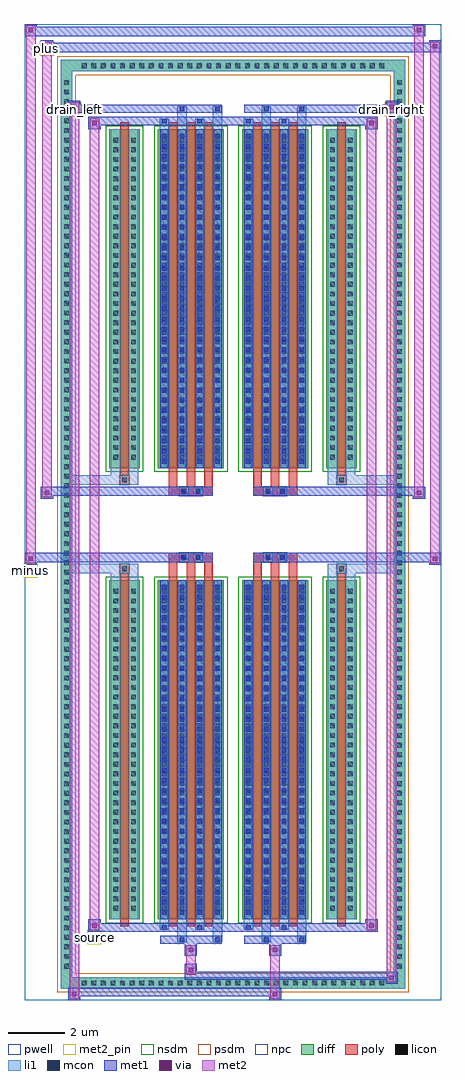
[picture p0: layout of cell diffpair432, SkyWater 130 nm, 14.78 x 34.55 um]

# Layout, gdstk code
import gdstk
lib = gdstk.Library(unit=1e-6, precision=5e-09)
def R(c, l, rs):  # rectangles x0, y0, x1, y1
    for r in rs: c.add(gdstk.rectangle(r[:2], r[2:], *l))
def A(c, l, x, y, w, h, nx, ny, dx, dy):  # array of equal rectangles
    R(c, l, [(x+i*dx, y+j*dy, x+i*dx+w, y+j*dy+h) for i in range(nx) for j in range(ny)])
def P(c, l, *ps):  # polygons
    for p in ps: c.add(gdstk.Polygon(p, *l))
pwell = (64, 44)
diff = (65, 20)
poly = (66, 20)
licon = (66, 44)
li1 = (67, 20)
mcon = (67, 44)
met1 = (68, 20)
via = (68, 44)
met2_pin = (69, 16)
met2 = (69, 20)
nsdm = (93, 44)
psdm = (94, 20)
npc = (95, 20)

diffpair432 = lib.new_cell('diffpair432')
R(diffpair432, pwell, [(-7.37,-16.84,7.37,17.71), (-4.69,-15.03,-0.01,-0.805), (0.01,-15.03,4.69,-0.805), (-4.69,0.805,-0.01,15.03), (0.01,0.805,4.69,15.03)])
A(diffpair432, diff, -5.475, -16.44, 0.41, 0.41, 32, 2, 0.34, 32.47)
A(diffpair432, diff, -6.1, -15.845, 0.41, 0.41, 1, 93, 0, 0.34)
A(diffpair432, diff, 5.69, -15.845, 0.41, 0.41, 1, 93, 0, 0.34)
R(diffpair432, diff, [(-5.475,-16.44,5.475,-16.03), (-6.1,-15.845,-5.69,15.845), (5.69,-15.845,6.1,15.845), (-4.38,-13.985,-3.3,-1.985), (-2.66,-13.985,-0.32,-1.985), (0.32,-13.985,2.66,-1.985), (3.3,-13.985,4.38,-1.985), (-4.38,1.985,-3.3,13.985), (-2.66,1.985,-0.32,13.985), (0.32,1.985,2.66,13.985), (3.3,1.985,4.38,13.985), (-5.475,16.03,5.475,16.44)])
P(diffpair432, diff, [(6.1,16.44),(-6.1,16.44),(-6.1,-16.03),(-5.69,-16.03),(-5.69,16.03),(5.69,16.03),(5.69,-16.03),(-5.69,-16.03),(-6.1,-16.03),(-6.1,-16.44),(6.1,-16.44)])
A(diffpair432, poly, -2.27, -14.235, 0.3, 12.5, 3, 2, 0.63, 15.97)
A(diffpair432, poly, 0.71, -14.235, 0.3, 12.5, 3, 2, 0.63, 15.97)
A(diffpair432, poly, -2.27, -1.735, 0.3, 0.4, 3, 2, 0.63, 3.07)
A(diffpair432, poly, 0.71, -1.735, 0.3, 0.4, 3, 2, 0.63, 3.07)
R(diffpair432, poly, [(-3.99,-14.235,-3.69,-1.735), (3.69,-14.235,3.99,-1.735), (-4.005,-1.735,-3.675,-1.405), (-4.005,-1.735,-3.675,-1.405), (3.675,-1.735,4.005,-1.405), (3.675,-1.735,4.005,-1.405), (-2.27,-1.335,-0.71,-1.005), (-1.905,-1.335,-1.575,-1.005), (-1.405,-1.335,-1.075,-1.005), (0.71,-1.335,2.27,-1.005), (1.075,-1.335,1.405,-1.005), (1.575,-1.335,1.905,-1.005), (-2.27,1.005,-0.71,1.335), (-1.905,1.005,-1.575,1.335), (-1.405,1.005,-1.075,1.335), (0.71,1.005,2.27,1.335), (1.075,1.005,1.405,1.335), (1.575,1.005,1.905,1.335), (-4.005,1.405,-3.675,1.735), (-4.005,1.405,-3.675,1.735), (3.675,1.405,4.005,1.735), (3.675,1.405,4.005,1.735), (-3.99,1.735,-3.69,14.235), (3.69,1.735,3.99,14.235)])
A(diffpair432, licon, -5.355, -16.32, 0.17, 0.17, 32, 2, 0.34, 32.47)
A(diffpair432, licon, -5.98, -15.725, 0.17, 0.17, 1, 93, 0, 0.34)
A(diffpair432, licon, 5.81, -15.725, 0.17, 0.17, 1, 93, 0, 0.34)
A(diffpair432, licon, -4.24, -13.68, 0.17, 0.17, 1, 34, 0, 0.34)
A(diffpair432, licon, -3.61, -13.68, 0.17, 0.17, 1, 34, 0, 0.34)
A(diffpair432, licon, -2.52, -13.68, 0.17, 0.17, 4, 34, 0.63, 0.34)
A(diffpair432, licon, 0.46, -13.68, 0.17, 0.17, 4, 34, 0.63, 0.34)
A(diffpair432, licon, 3.44, -13.68, 0.17, 0.17, 1, 34, 0, 0.34)
A(diffpair432, licon, 4.07, -13.68, 0.17, 0.17, 1, 34, 0, 0.34)
A(diffpair432, licon, -4.24, 2.29, 0.17, 0.17, 1, 34, 0, 0.34)
A(diffpair432, licon, -3.61, 2.29, 0.17, 0.17, 1, 34, 0, 0.34)
A(diffpair432, licon, -2.52, 2.29, 0.17, 0.17, 4, 34, 0.63, 0.34)
A(diffpair432, licon, 0.46, 2.29, 0.17, 0.17, 4, 34, 0.63, 0.34)
A(diffpair432, licon, 3.44, 2.29, 0.17, 0.17, 1, 34, 0, 0.34)
A(diffpair432, licon, 4.07, 2.29, 0.17, 0.17, 1, 34, 0, 0.34)
R(diffpair432, licon, [(-3.925,-1.655,-3.755,-1.485), (3.755,-1.655,3.925,-1.485), (-1.825,-1.255,-1.655,-1.085), (-1.325,-1.255,-1.155,-1.085), (1.155,-1.255,1.325,-1.085), (1.655,-1.255,1.825,-1.085), (-1.825,1.085,-1.655,1.255), (-1.325,1.085,-1.155,1.255), (1.155,1.085,1.325,1.255), (1.655,1.085,1.825,1.255), (-3.925,1.485,-3.755,1.655), (3.755,1.485,3.925,1.655)])
A(diffpair432, li1, -5.435, -16.4, 0.33, 0.33, 32, 2, 0.34, 32.47)
A(diffpair432, li1, -6.06, -15.805, 0.33, 0.33, 1, 93, 0, 0.34)
A(diffpair432, li1, 5.73, -15.805, 0.33, 0.33, 1, 93, 0, 0.34)
A(diffpair432, li1, -2.6, -13.985, 0.33, 12, 4, 2, 0.63, 15.97)
A(diffpair432, li1, 0.38, -13.985, 0.33, 12, 4, 2, 0.63, 15.97)
A(diffpair432, li1, -2.52, -13.83, 0.17, 0.17, 4, 33, 0.63, 0.36)
A(diffpair432, li1, -2.52, -13.83, 0.17, 11.69, 4, 2, 0.63, 15.97)
A(diffpair432, li1, 0.46, -13.83, 0.17, 0.17, 4, 33, 0.63, 0.36)
A(diffpair432, li1, 0.46, -13.83, 0.17, 11.69, 4, 2, 0.63, 15.97)
A(diffpair432, li1, -4.32, -13.76, 0.33, 0.33, 1, 34, 0, 0.34)
A(diffpair432, li1, -3.69, -13.76, 0.33, 0.33, 1, 34, 0, 0.34)
A(diffpair432, li1, -2.6, -13.76, 0.33, 0.33, 4, 34, 0.63, 0.34)
A(diffpair432, li1, 0.38, -13.76, 0.33, 0.33, 4, 34, 0.63, 0.34)
A(diffpair432, li1, 3.36, -13.76, 0.33, 0.33, 1, 34, 0, 0.34)
A(diffpair432, li1, 3.99, -13.76, 0.33, 0.33, 1, 34, 0, 0.34)
A(diffpair432, li1, -2.52, 2.14, 0.17, 0.17, 4, 33, 0.63, 0.36)
A(diffpair432, li1, 0.46, 2.14, 0.17, 0.17, 4, 33, 0.63, 0.36)
A(diffpair432, li1, -4.32, 2.21, 0.33, 0.33, 1, 34, 0, 0.34)
A(diffpair432, li1, -3.69, 2.21, 0.33, 0.33, 1, 34, 0, 0.34)
A(diffpair432, li1, -2.6, 2.21, 0.33, 0.33, 4, 34, 0.63, 0.34)
A(diffpair432, li1, 0.38, 2.21, 0.33, 0.33, 4, 34, 0.63, 0.34)
A(diffpair432, li1, 3.36, 2.21, 0.33, 0.33, 1, 34, 0, 0.34)
A(diffpair432, li1, 3.99, 2.21, 0.33, 0.33, 1, 34, 0, 0.34)
R(diffpair432, li1, [(-6.1,-16.44,-5.69,-16.03), (-6.1,-16.44,-5.69,-16.03), (-5.69,-16.44,5.69,-16.03), (5.69,-16.44,6.1,-16.03), (5.69,-16.44,6.1,-16.03), (-6.1,-16.03,-5.69,16.03), (5.69,-16.03,6.1,16.03), (-1.97,-14.79,-1.64,-13.985), (-1.89,-14.79,-1.72,-14.62), (-0.71,-14.79,-0.38,-13.985), (-0.63,-14.79,-0.46,-14.62), (1.01,-14.79,1.34,-13.985), (1.09,-14.79,1.26,-14.62), (2.27,-14.79,2.6,-13.985), (2.35,-14.79,2.52,-14.62), (-2.6,-14.36,-2.27,-13.985), (-2.52,-14.36,-2.35,-14.19), (-1.34,-14.36,-1.01,-13.985), (-1.26,-14.36,-1.09,-14.19), (0.38,-14.36,0.71,-13.985), (0.46,-14.36,0.63,-14.19), (1.64,-14.36,1.97,-13.985), (1.72,-14.36,1.89,-14.19), (-4.32,-13.985,-3.99,-1.985), (-3.69,-13.985,-3.36,-1.985), (3.36,-13.985,3.69,-1.985), (3.99,-13.985,4.32,-1.985), (-4.32,-1.985,-3.99,-1.405), (-3.69,-1.985,-3.36,-1.405), (3.36,-1.985,3.69,-1.405), (3.99,-1.985,4.32,-1.405), (-6.1,-1.735,-4.005,-1.405), (-4.32,-1.735,-4.005,-1.405), (-4.005,-1.735,-3.675,-1.405), (-3.675,-1.735,-3.36,-1.405), (3.36,-1.735,3.675,-1.405), (3.675,-1.735,4.005,-1.405), (3.675,-1.735,6.1,-1.405), (4.005,-1.735,4.32,-1.405), (-1.905,-1.335,-1.575,-1.005), (-1.405,-1.335,-1.075,-1.005), (1.075,-1.335,1.405,-1.005), (1.575,-1.335,1.905,-1.005), (-1.905,1.005,-1.575,1.335), (-1.405,1.005,-1.075,1.335), (1.075,1.005,1.405,1.335), (1.575,1.005,1.905,1.335), (-6.1,1.405,-4.005,1.735), (-4.32,1.405,-4.005,1.735), (-4.32,1.405,-3.99,1.985), (-4.005,1.405,-3.675,1.735), (-3.69,1.405,-3.36,1.985), (-3.675,1.405,-3.36,1.735), (3.36,1.405,3.675,1.735), (3.36,1.405,3.69,1.985), (3.675,1.405,4.005,1.735), (3.675,1.405,6.1,1.735), (3.99,1.405,4.32,1.985), (4.005,1.405,4.32,1.735), (-4.32,1.985,-3.99,13.985), (-3.69,1.985,-3.36,13.985), (3.36,1.985,3.69,13.985), (3.99,1.985,4.32,13.985), (-2.6,13.985,-2.27,14.36), (-1.97,13.985,-1.64,14.79), (-1.34,13.985,-1.01,14.36), (-0.71,13.985,-0.38,14.79), (0.38,13.985,0.71,14.36), (1.01,13.985,1.34,14.79), (1.64,13.985,1.97,14.36), (2.27,13.985,2.6,14.79), (-2.52,14.19,-2.35,14.36), (-1.26,14.19,-1.09,14.36), (0.46,14.19,0.63,14.36), (1.72,14.19,1.89,14.36), (-1.89,14.62,-1.72,14.79), (-0.63,14.62,-0.46,14.79), (1.09,14.62,1.26,14.79), (2.35,14.62,2.52,14.79), (-6.1,16.03,-5.69,16.44), (-6.1,16.03,-5.69,16.44), (-5.69,16.03,5.69,16.44), (5.69,16.03,6.1,16.44), (5.69,16.03,6.1,16.44)])
A(diffpair432, mcon, -2.52, -13.83, 0.17, 0.17, 4, 33, 0.63, 0.36)
A(diffpair432, mcon, 0.46, -13.83, 0.17, 0.17, 4, 33, 0.63, 0.36)
A(diffpair432, mcon, -2.52, 2.14, 0.17, 0.17, 4, 33, 0.63, 0.36)
A(diffpair432, mcon, 0.46, 2.14, 0.17, 0.17, 4, 33, 0.63, 0.36)
R(diffpair432, mcon, [(-1.89,-14.79,-1.72,-14.62), (-0.63,-14.79,-0.46,-14.62), (1.09,-14.79,1.26,-14.62), (2.35,-14.79,2.52,-14.62), (-2.52,-14.36,-2.35,-14.19), (-1.26,-14.36,-1.09,-14.19), (0.46,-14.36,0.63,-14.19), (1.72,-14.36,1.89,-14.19), (-1.825,-1.255,-1.655,-1.085), (-1.325,-1.255,-1.155,-1.085), (1.155,-1.255,1.325,-1.085), (1.655,-1.255,1.825,-1.085), (-1.825,1.085,-1.655,1.255), (-1.325,1.085,-1.155,1.255), (1.155,1.085,1.325,1.255), (1.655,1.085,1.825,1.255), (-2.52,14.19,-2.35,14.36), (-1.26,14.19,-1.09,14.36), (0.46,14.19,0.63,14.36), (1.72,14.19,1.89,14.36), (-1.89,14.62,-1.72,14.79), (-0.63,14.62,-0.46,14.79), (1.09,14.62,1.26,14.79), (2.35,14.62,2.52,14.79)])
A(diffpair432, met1, -2.58, -13.985, 0.29, 12, 4, 2, 0.63, 15.97)
A(diffpair432, met1, 0.4, -13.985, 0.29, 12, 4, 2, 0.63, 15.97)
A(diffpair432, met1, -2.58, -13.89, 0.29, 0.29, 4, 33, 0.63, 0.36)
A(diffpair432, met1, 0.4, -13.89, 0.29, 0.29, 4, 33, 0.63, 0.36)
A(diffpair432, met1, -2.58, 2.08, 0.29, 0.29, 4, 33, 0.63, 0.36)
A(diffpair432, met1, 0.4, 2.08, 0.29, 0.29, 4, 33, 0.63, 0.36)
R(diffpair432, met1, [(-5.83,-16.84,-5.4,-16.41), (1.275,-16.84,1.705,-16.41), (-5.83,-16.7,1.705,-16.41), (5.4,-16.27,5.83,-15.84), (-1.705,-16.13,5.83,-15.84), (-1.705,-15.99,-1.275,-15.56), (-1.705,-15.28,-1.275,-14.85), (1.275,-15.28,1.705,-14.85), (-2.58,-14.85,-0.4,-14.56), (-1.95,-14.85,-1.66,-14.56), (-0.69,-14.85,-0.4,-14.56), (0.4,-14.85,2.58,-14.56), (1.03,-14.85,1.32,-14.56), (2.29,-14.85,2.58,-14.56), (-5.12,-14.42,-4.69,-13.99), (-5.12,-14.42,-2.58,-14.13), (-2.58,-14.42,-2.29,-14.13), (-2.58,-14.42,-0.4,-14.13), (-1.32,-14.42,-1.03,-14.13), (-0.4,-14.42,0.4,-14.13), (0.4,-14.42,0.69,-14.13), (0.4,-14.42,2.58,-14.13), (1.66,-14.42,1.95,-14.13), (2.58,-14.42,5.12,-14.13), (4.69,-14.42,5.12,-13.99), (-7.37,-1.435,-6.94,-1.005), (6.94,-1.435,7.37,-1.005), (-7.37,-1.335,-0.71,-1.005), (-2.27,-1.335,-0.71,-1.005), (0.71,-1.335,2.27,-1.005), (0.71,-1.335,7.37,-1.005), (-1.885,-1.315,-1.595,-1.025), (-1.385,-1.315,-1.095,-1.025), (1.095,-1.315,1.385,-1.025), (1.595,-1.315,1.885,-1.025), (-6.8,0.905,-6.37,1.335), (6.37,0.905,6.8,1.335), (-6.8,1.005,-2.27,1.335), (-2.27,1.005,-0.71,1.335), (0.71,1.005,2.27,1.335), (2.27,1.005,6.8,1.335), (-1.885,1.025,-1.595,1.315), (-1.385,1.025,-1.095,1.315), (1.095,1.025,1.385,1.315), (1.595,1.025,1.885,1.315), (-5.12,13.99,-4.69,14.42), (4.69,13.99,5.12,14.42), (-5.12,14.13,-2.58,14.42), (-2.58,14.13,-2.29,14.42), (-2.58,14.13,-0.4,14.42), (-1.32,14.13,-1.03,14.42), (-0.4,14.13,0.4,14.42), (0.4,14.13,0.69,14.42), (0.4,14.13,2.58,14.42), (1.66,14.13,1.95,14.42), (2.58,14.13,5.12,14.42), (-5.83,14.56,-5.4,14.99), (-5.83,14.56,-2.58,14.85), (-2.58,14.56,-0.4,14.85), (-1.95,14.56,-1.66,14.85), (-0.69,14.56,-0.4,14.85), (0.4,14.56,2.58,14.85), (1.03,14.56,1.32,14.85), (2.29,14.56,2.58,14.85), (2.58,14.56,5.83,14.85), (5.4,14.56,5.83,14.99), (-6.8,16.71,-6.37,17.14), (-6.8,16.71,-4.69,17.04), (-4.69,16.71,4.69,17.04), (4.69,16.71,7.37,17.04), (6.94,16.71,7.37,17.14), (-7.37,17.28,-6.94,17.71), (-7.37,17.28,-4.69,17.61), (-4.69,17.28,4.69,17.61), (4.69,17.28,6.8,17.61), (6.37,17.28,6.8,17.71)])
R(diffpair432, via, [(-5.69,-16.7,-5.54,-16.55), (1.415,-16.7,1.565,-16.55), (5.54,-16.13,5.69,-15.98), (-1.565,-15.85,-1.415,-15.7), (-1.565,-15.14,-1.415,-14.99), (1.415,-15.14,1.565,-14.99), (-4.98,-14.28,-4.83,-14.13), (4.83,-14.28,4.98,-14.13), (-7.23,-1.295,-7.08,-1.145), (7.08,-1.295,7.23,-1.145), (-6.66,1.045,-6.51,1.195), (6.51,1.045,6.66,1.195), (-4.98,14.13,-4.83,14.28), (4.83,14.13,4.98,14.28), (-5.69,14.7,-5.54,14.85), (5.54,14.7,5.69,14.85), (-6.66,16.85,-6.51,17), (7.08,16.85,7.23,17), (-7.23,17.42,-7.08,17.57), (6.51,17.42,6.66,17.57)])
R(diffpair432, met2_pin, [(-5.155,-14.87,-4.655,-14.37), (-7.405,-1.885,-6.905,-1.385), (-5.865,14.44,-5.365,14.94), (5.365,14.44,5.865,14.94), (-6.835,16.59,-6.335,17.09)])
R(diffpair432, met2, [(-5.78,-16.79,-5.45,-16.46), (-5.78,-16.79,-5.45,14.94), (1.325,-16.79,1.655,-16.46), (1.325,-16.46,1.655,-15.23), (5.45,-16.22,5.78,-15.89), (5.45,-16.22,5.78,14.94), (-1.655,-15.94,-1.325,-15.61), (-1.655,-15.61,-1.325,-15.23), (-1.655,-15.23,-1.325,-14.9), (1.325,-15.23,1.655,-14.9), (-5.07,-14.37,-4.74,-14.04), (-5.07,-14.37,-4.74,14.37), (4.74,-14.37,5.07,-14.04), (4.74,-14.37,5.07,14.37), (-7.32,-1.385,-6.99,-1.055), (-7.32,-1.385,-6.99,17.66), (6.99,-1.385,7.32,-1.055), (6.99,-1.385,7.32,17.09), (-6.75,0.955,-6.42,1.285), (-6.75,0.955,-6.42,17.09), (6.42,0.955,6.75,1.285), (6.42,0.955,6.75,17.66), (-5.07,14.04,-4.74,14.37), (4.74,14.04,5.07,14.37), (-5.78,14.61,-5.45,14.94), (5.45,14.61,5.78,14.94), (-6.75,16.76,-6.42,17.09), (6.99,16.76,7.32,17.09), (-7.32,17.33,-6.99,17.66), (6.42,17.33,6.75,17.66)])
P(diffpair432, met2, [(7.32,-1.385),(7.32,-1.385),(7.32,-1.055),(7.32,-1.055)],
  [(7.32,16.76),(7.32,16.76),(7.32,17.09),(7.32,17.09)],
  [(-6.99,-1.385),(-6.99,-1.385),(-6.99,-1.055),(-6.99,-1.055)],
  [(-6.99,17.33),(-6.99,17.33),(-6.99,17.66),(-6.99,17.66)],
  [(6.75,0.955),(6.75,0.955),(6.75,1.285),(6.75,1.285)],
  [(6.75,17.33),(6.75,17.33),(6.75,17.66),(6.75,17.66)],
  [(-6.42,0.955),(-6.42,0.955),(-6.42,1.285),(-6.42,1.285)],
  [(-6.42,16.76),(-6.42,16.76),(-6.42,17.09),(-6.42,17.09)],
  [(-5.45,-16.79),(-5.45,-16.79),(-5.45,-16.46),(-5.45,-16.46)],
  [(-5.45,14.61),(-5.45,14.61),(-5.45,14.94),(-5.45,14.94)],
  [(5.78,-16.22),(5.78,-16.22),(5.78,-15.89),(5.78,-15.89)],
  [(5.78,14.61),(5.78,14.61),(5.78,14.94),(5.78,14.94)],
  [(-4.74,-14.37),(-4.74,-14.37),(-4.74,-14.04),(-4.74,-14.04)],
  [(-4.74,14.04),(-4.74,14.04),(-4.74,14.37),(-4.74,14.37)],
  [(5.07,-14.37),(5.07,-14.37),(5.07,-14.04),(5.07,-14.04)],
  [(5.07,14.04),(5.07,14.04),(5.07,14.37),(5.07,14.37)])
R(diffpair432, nsdm, [(-4.51,-14.115,-3.17,-1.855), (-2.79,-14.115,-0.19,-1.855), (0.19,-14.115,2.79,-1.855), (3.17,-14.115,4.51,-1.855), (-4.51,1.855,-3.17,14.115), (-2.79,1.855,-0.19,14.115), (0.19,1.855,2.79,14.115), (3.17,1.855,4.51,14.115)])
P(diffpair432, psdm, [(6.23,16.57),(-6.23,16.57),(-6.23,-15.9),(-5.56,-15.9),(-5.56,15.9),(5.56,15.9),(5.56,-15.9),(-5.56,-15.9),(-6.23,-15.9),(-6.23,-16.57),(6.23,-16.57)])
R(diffpair432, npc, [(-4.025,-1.755,-3.655,-1.385), (3.655,-1.755,4.025,-1.385), (-1.925,-1.355,-1.555,-0.985), (-1.925,-1.355,-1.055,-0.985), (-1.925,-1.355,-1.055,-0.985), (-1.425,-1.355,-1.055,-0.985), (1.055,-1.355,1.425,-0.985), (1.055,-1.355,1.925,-0.985), (1.055,-1.355,1.925,-0.985), (1.555,-1.355,1.925,-0.985), (-1.925,0.985,-1.555,1.355), (-1.925,0.985,-1.055,1.355), (-1.925,0.985,-1.055,1.355), (-1.425,0.985,-1.055,1.355), (1.055,0.985,1.425,1.355), (1.055,0.985,1.925,1.355), (1.055,0.985,1.925,1.355), (1.555,0.985,1.925,1.355), (-4.025,1.385,-3.655,1.755), (3.655,1.385,4.025,1.755)])
diffpair432.add(gdstk.Label('minus', (-7.155,-1.635), layer=69, texttype=5))
diffpair432.add(gdstk.Label('drain_right', (5.615,14.69), layer=69, texttype=5))
diffpair432.add(gdstk.Label('drain_left', (-5.615,14.69), layer=69, texttype=5))
diffpair432.add(gdstk.Label('source', (-4.905,-14.62), layer=69, texttype=5))
diffpair432.add(gdstk.Label('plus', (-6.585,16.84), layer=69, texttype=5))

lib.write_gds('diffpair432.gds')
